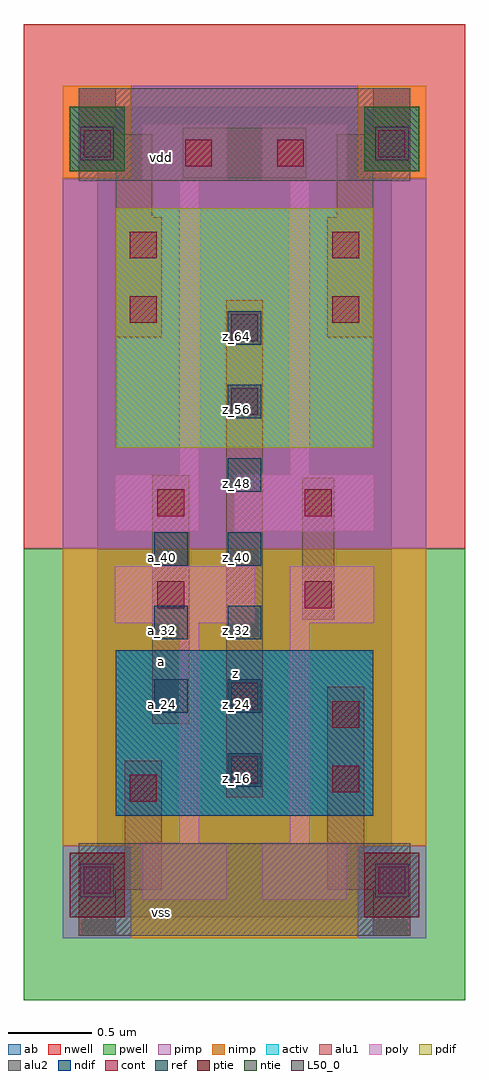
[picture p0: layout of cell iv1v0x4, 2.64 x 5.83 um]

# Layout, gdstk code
import gdstk
lib = gdstk.Library(unit=1e-6, precision=2.5e-09)
def R(c, l, rs):  # rectangles x0, y0, x1, y1
    for r in rs: c.add(gdstk.rectangle(r[:2], r[2:], *l))
def A(c, l, x, y, w, h, nx, ny, dx, dy):  # array of equal rectangles
    R(c, l, [(x+i*dx, y+j*dy, x+i*dx+w, y+j*dy+h) for i in range(nx) for j in range(ny)])
ndif = (3, 0)
pdif = (4, 0)
ntie = (5, 0)
ptie = (6, 0)
ref = (24, 0)
cont = (25, 0)
pwell = (41, 0)
nwell = (42, 0)
activ = (43, 0)
pimp = (44, 0)
nimp = (45, 0)
poly = (46, 0)
alu1 = (49, 0)
L50_0 = (50, 0)
alu2 = (51, 0)
ab = (63, 0)

iv1v0x4 = lib.new_cell('iv1v0x4')
R(iv1v0x4, ndif, [(0.11,0.605,1.65,1.595)])
R(iv1v0x4, pdif, [(0.11,2.805,1.65,4.235)])
R(iv1v0x4, ntie, [(-0.165,4.455,0.165,4.84), (1.595,4.455,1.925,4.84)])
R(iv1v0x4, ptie, [(-0.165,0,0.165,0.385), (1.595,0,1.925,0.385)])
A(iv1v0x4, ref, 0.78, 0.78, 0.2, 0.2, 1, 7, 0, 0.44)
A(iv1v0x4, ref, 0.34, 1.22, 0.2, 0.2, 1, 3, 0, 0.44)
R(iv1v0x4, cont, [(-0.08,0.14,0.08,0.3), (1.68,0.14,1.84,0.3), (0.195,0.69,0.355,0.85), (1.405,0.745,1.565,0.905), (0.8,0.8,0.96,0.96), (1.405,1.13,1.565,1.29), (0.8,1.24,0.96,1.4), (0.36,1.845,0.52,2.005), (1.24,1.845,1.4,2.005), (0.36,2.395,0.52,2.555), (1.24,2.395,1.4,2.555), (0.8,3,0.96,3.16), (0.8,3.44,0.96,3.6), (0.195,3.55,0.355,3.71), (1.405,3.55,1.565,3.71), (0.195,3.935,0.355,4.095), (1.405,3.935,1.565,4.095), (0.525,4.485,0.685,4.645), (1.075,4.485,1.235,4.645), (-0.08,4.54,0.08,4.7), (1.68,4.54,1.84,4.7)])
R(iv1v0x4, pwell, [(-0.44,-0.495,2.2,2.2)])
R(iv1v0x4, nwell, [(-0.44,2.2,2.2,5.335)])
R(iv1v0x4, activ, [(-0.165,0,0.165,0.385), (1.595,0,1.925,0.385), (0.11,0.605,1.65,1.595), (0.11,2.805,1.65,4.235), (-0.165,4.455,0.165,4.84), (1.595,4.455,1.925,4.84)])
R(iv1v0x4, pimp, [(-0.205,-0.125,0.205,0.425), (1.555,-0.125,1.965,0.425), (-0.205,2.2,1.965,4.415), (0.205,4.415,1.555,4.965)])
R(iv1v0x4, nimp, [(0.205,-0.125,1.555,0.425), (-0.205,0.425,1.965,2.2), (-0.205,4.415,0.205,4.965), (1.555,4.415,1.965,4.965)])
R(iv1v0x4, poly, [(0.27,0.105,0.775,0.445), (0.985,0.105,1.49,0.445), (0.49,0.445,0.61,1.755), (1.15,0.445,1.27,1.755), (0.105,1.755,0.94,2.095), (1.15,1.755,1.655,2.095), (0.105,2.305,0.61,2.645), (0.82,2.305,1.655,2.645), (0.49,2.645,0.61,4.395), (1.15,2.645,1.27,4.395), (0.27,4.395,0.775,4.735), (0.985,4.395,1.49,4.735)])
R(iv1v0x4, alu1, [(-0.11,-0.11,0.11,0.165), (1.65,-0.11,1.87,0.165), (-0.11,0.165,0.385,0.385), (1.375,0.165,1.87,0.385), (0.165,0.385,0.385,0.935), (1.375,0.385,1.595,1.375), (0.77,0.715,0.99,3.685), (0.33,1.155,0.55,2.64), (1.225,1.775,1.415,2.625), (0.11,3.465,0.385,4.18), (1.375,3.465,1.65,4.18), (0.11,4.18,0.33,4.455), (1.43,4.18,1.65,4.455), (0.51,4.415,1.25,4.715), (-0.11,4.455,0.33,4.675), (1.43,4.455,1.87,4.675), (-0.11,4.675,0.11,4.95), (1.65,4.675,1.87,4.95)])
R(iv1v0x4, L50_0, [(-0.1,0.12,0.1,0.32), (1.66,0.12,1.86,0.32), (-0.1,4.52,0.1,4.72), (1.66,4.52,1.86,4.72)])
R(iv1v0x4, alu2, [(-0.11,-0.11,1.87,0.44), (-0.11,4.4,1.87,4.95)])
R(iv1v0x4, ab, [(0,0,1.76,4.84)])
iv1v0x4.add(gdstk.Label('z', (0.825,1.4575), layer=49, texttype=0))
iv1v0x4.add(gdstk.Label('a', (0.385,1.525), layer=49, texttype=0))
iv1v0x4.add(gdstk.Label('vss', (0.385,0.0275), layer=51, texttype=0))
iv1v0x4.add(gdstk.Label('vdd', (0.385,4.5375), layer=51, texttype=0))
iv1v0x4.add(gdstk.Label('z_16', (0.83,0.83), layer=24, texttype=0))
iv1v0x4.add(gdstk.Label('a_32', (0.39,1.71), layer=24, texttype=0))
iv1v0x4.add(gdstk.Label('z_24', (0.83,1.27), layer=24, texttype=0))
iv1v0x4.add(gdstk.Label('z_32', (0.83,1.71), layer=24, texttype=0))
iv1v0x4.add(gdstk.Label('z_56', (0.83,3.03), layer=24, texttype=0))
iv1v0x4.add(gdstk.Label('z_48', (0.83,2.59), layer=24, texttype=0))
iv1v0x4.add(gdstk.Label('z_40', (0.83,2.15), layer=24, texttype=0))
iv1v0x4.add(gdstk.Label('a_40', (0.39,2.15), layer=24, texttype=0))
iv1v0x4.add(gdstk.Label('z_64', (0.83,3.47), layer=24, texttype=0))
iv1v0x4.add(gdstk.Label('a_24', (0.39,1.27), layer=24, texttype=0))

lib.write_gds('iv1v0x4.gds')
